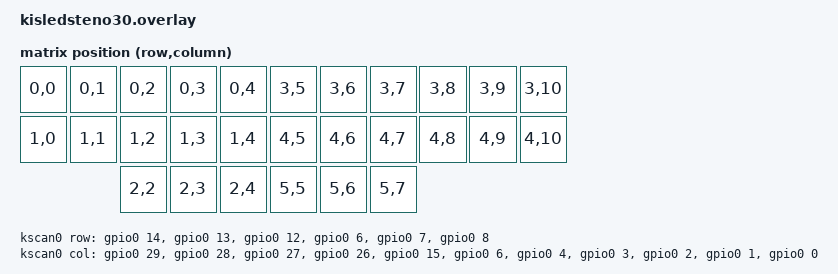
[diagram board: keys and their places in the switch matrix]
/*
 * Copyright (c) 2020 The ZMK Contributors
 * and (c) 2022 tubbytwins (Matthew A. Schnoor) and beekeeb
 *
 * SPDX-License-Identifier: MIT
 */
 
 #include <dt-bindings/zmk/matrix_transform.h>

/ {
    chosen {
        zmk,kscan = &kscan0;
        zmk,matrix_transform = &default_transform;
	/delete-property/ zephyr,console;
	/delete-property/ zephyr,shell-uart;
    };

    default_transform: keymap_transform_0 {
        compatible = "zmk,matrix-transform";
        columns = <11>;
        rows = <6>;
        map = <
            RC(0,0) RC(0,1) RC(0,2) RC(0,3) RC(0,4)      RC(3,5) RC(3,6) RC(3,7) RC(3,8) RC(3,9) RC(3,10)
            RC(1,0) RC(1,1) RC(1,2) RC(1,3) RC(1,4)      RC(4,5) RC(4,6) RC(4,7) RC(4,8) RC(4,9) RC(4,10)
                            RC(2,2) RC(2,3) RC(2,4)      RC(5,5) RC(5,6) RC(5,7) 
        >;
    };
// defining which pin to use for which
    kscan0: kscan_0 {
        compatible = "zmk,kscan-gpio-matrix";
        label = "KSCAN";
        diode-direction = "col2row";

        col-gpios
            = <&gpio0 29 GPIO_ACTIVE_HIGH>
            , <&gpio0 28 GPIO_ACTIVE_HIGH>
            , <&gpio0 27 GPIO_ACTIVE_HIGH>
            , <&gpio0 26 GPIO_ACTIVE_HIGH>
            , <&gpio0 15 GPIO_ACTIVE_HIGH>
            , <&gpio0 6  GPIO_ACTIVE_HIGH>
            , <&gpio0 4  GPIO_ACTIVE_HIGH>
            , <&gpio0 3  GPIO_ACTIVE_HIGH>
            , <&gpio0 2  GPIO_ACTIVE_HIGH>
            , <&gpio0 1  GPIO_ACTIVE_HIGH>
            , <&gpio0 0  GPIO_ACTIVE_HIGH>
            ;

        row-gpios
            = <&gpio0 14  (GPIO_ACTIVE_HIGH | GPIO_PULL_DOWN)> //LRow1
            , <&gpio0 13 (GPIO_ACTIVE_HIGH | GPIO_PULL_DOWN)> //LRow2
            , <&gpio0 12 (GPIO_ACTIVE_HIGH | GPIO_PULL_DOWN)> //LRow3
            , <&gpio0 6  (GPIO_ACTIVE_HIGH | GPIO_PULL_DOWN)> //RRow1
            , <&gpio0 7  (GPIO_ACTIVE_HIGH | GPIO_PULL_DOWN)> //RRow2
            , <&gpio0 8  (GPIO_ACTIVE_HIGH | GPIO_PULL_DOWN)> //RRow3
            ;
    };
};

